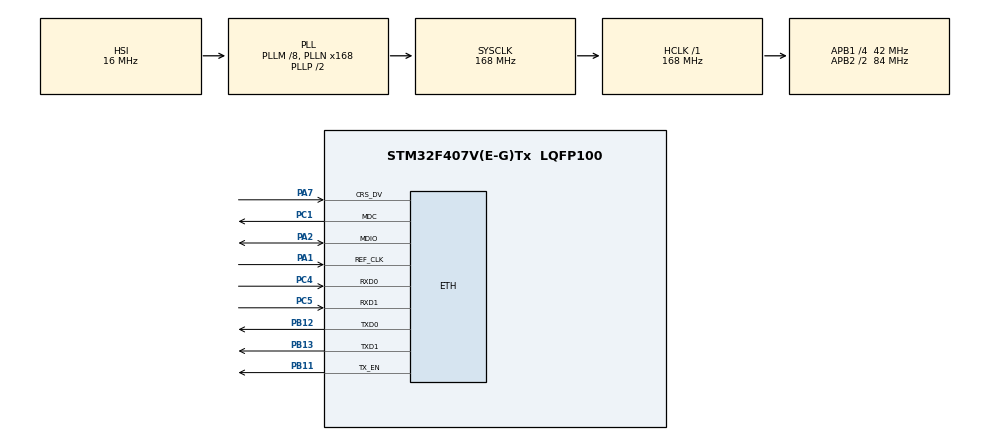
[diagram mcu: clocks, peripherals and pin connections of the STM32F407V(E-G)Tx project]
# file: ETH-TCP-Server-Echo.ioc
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ETH.AutoNegotiation=ETH_AUTONEGOTIATION_DISABLE
ETH.MediaInterface=ETH_MEDIA_INTERFACE_RMII
LWIP.GATEWAY_ADDRESS=192.168.100.001
LWIP.IP_ADDRESS=192.168.100.200
LWIP.LWIP_DHCP=0
LWIP.MEM_SIZE=10240
LWIP.NETMASK_ADDRESS=255.255.255.000
LWIP.PBUF_POOL_BUFSIZE=1534
LWIP.TCP_MSS=1460
LWIP.Version=v2.1.2_Cube
Mcu.Family=STM32F4
Mcu.Name=STM32F407V(E-G)Tx
Mcu.Package=LQFP100
NVIC.PriorityGroup=NVIC_PRIORITYGROUP_4
PA1.Mode=RMII
PA1.Signal=ETH_REF_CLK
PA2.Mode=RMII
PA2.Signal=ETH_MDIO
PA7.Mode=RMII
PA7.Signal=ETH_CRS_DV
PB11.Mode=RMII
PB11.Signal=ETH_TX_EN
PB12.Mode=RMII
PB12.Signal=ETH_TXD0
PB13.Mode=RMII
PB13.Signal=ETH_TXD1
PC1.Mode=RMII
PC1.Signal=ETH_MDC
PC4.Mode=RMII
PC4.Signal=ETH_RXD0
PC5.Mode=RMII
PC5.Signal=ETH_RXD1
ProjectManager.HeapSize=0x200
ProjectManager.StackSize=0x400
ProjectManager.TargetToolchain=MDK-ARM V5.27
RCC.48MHZClocksFreq_Value=84000000
RCC.AHBFreq_Value=168000000
RCC.APB1CLKDivider=RCC_HCLK_DIV4
RCC.APB1Freq_Value=42000000
RCC.APB1TimFreq_Value=84000000
RCC.APB2CLKDivider=RCC_HCLK_DIV2
RCC.APB2Freq_Value=84000000
RCC.APB2TimFreq_Value=168000000
RCC.CortexFreq_Value=168000000
RCC.HCLKFreq_Value=168000000
RCC.HSE_VALUE=25000000
RCC.HSI_VALUE=16000000
RCC.LSE_VALUE=32768
RCC.PLLM=8
RCC.PLLN=168
RCC.SYSCLKFreq_VALUE=168000000
RCC.SYSCLKSource=RCC_SYSCLKSOURCE_PLLCLK
RCC.VCOOutputFreq_Value=336000000
VP_LWIP_VS_Enabled.Mode=Enabled
board=custom

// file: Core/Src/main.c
/* USER CODE BEGIN Header */
/**
  ******************************************************************************
  * @file           : main.c
  * @brief          : Main program body
  ******************************************************************************
  * @attention
  *
  * <h2><center>&copy; Copyright (c) 2024 STMicroelectronics.
  * All rights reserved.</center></h2>
  *
  * This software component is licensed by ST under Ultimate Liberty license
  * SLA0044, the "License"; You may not use this file except in compliance with
  * the License. You may obtain a copy of the License at:
  *                             www.st.com/SLA0044
  *
  ******************************************************************************
  */
/* USER CODE END Header */
#include "main.h"
#include "lwip.h"
#include "gpio.h"

/* USER CODE BEGIN Includes */
#include "lwip/tcp.h"
#include "lwip/ip_addr.h"
#include "lwip/ip.h"

#include <stdio.h>
/* USER CODE END Includes */

/* USER CODE BEGIN PV */
static const uint16_t SERVER_PORT = 8585;

static struct tcp_pcb* server;

/* USER CODE END PV */

void SystemClock_Config(void);

/* USER CODE BEGIN 0 */
void Server_init(void);

err_t Server_onAccept(void *arg, struct tcp_pcb *newpcb, err_t err);
err_t Server_onReceive(void *arg, struct tcp_pcb *tpcb, struct pbuf *p, err_t err);
err_t Server_onSent(void *arg, struct tcp_pcb *tpcb,u16_t len);
err_t Server_onPoll(void *arg, struct tcp_pcb *tpcb);
void  Server_onError(void *arg, err_t err);
/* USER CODE END 0 */

int main(void)
{

  /* MCU Configuration--------------------------------------------------------*/

  /* Reset of all peripherals, Initializes the Flash interface and the Systick. */
  HAL_Init();

  /* Configure the system clock */
  SystemClock_Config();

  /* Initialize all configured peripherals */
  MX_GPIO_Init();
  MX_LWIP_Init();

  /* Infinite loop */
  /* USER CODE BEGIN WHILE */
  Server_init();
  while (1)
  {
    MX_LWIP_Process();
    /* USER CODE END WHILE */

  }
}

void SystemClock_Config(void)
{
  RCC_OscInitTypeDef RCC_OscInitStruct = {0};
  RCC_ClkInitTypeDef RCC_ClkInitStruct = {0};

  /** Configure the main internal regulator output voltage
  */
  __HAL_RCC_PWR_CLK_ENABLE();
  __HAL_PWR_VOLTAGESCALING_CONFIG(PWR_REGULATOR_VOLTAGE_SCALE1);
  /** Initializes the RCC Oscillators according to the specified parameters
  * in the RCC_OscInitTypeDef structure.
  */
  RCC_OscInitStruct.OscillatorType = RCC_OSCILLATORTYPE_HSI;
  RCC_OscInitStruct.HSIState = RCC_HSI_ON;
  RCC_OscInitStruct.HSICalibrationValue = RCC_HSICALIBRATION_DEFAULT;
  RCC_OscInitStruct.PLL.PLLState = RCC_PLL_ON;
  RCC_OscInitStruct.PLL.PLLSource = RCC_PLLSOURCE_HSI;
  RCC_OscInitStruct.PLL.PLLM = 8;
  RCC_OscInitStruct.PLL.PLLN = 168;
  RCC_OscInitStruct.PLL.PLLP = RCC_PLLP_DIV2;
  RCC_OscInitStruct.PLL.PLLQ = 4;
  if (HAL_RCC_OscConfig(&RCC_OscInitStruct) != HAL_OK)
  {
    Error_Handler();
  }
  /** Initializes the CPU, AHB and APB buses clocks
  */
  RCC_ClkInitStruct.ClockType = RCC_CLOCKTYPE_HCLK|RCC_CLOCKTYPE_SYSCLK
                              |RCC_CLOCKTYPE_PCLK1|RCC_CLOCKTYPE_PCLK2;
  RCC_ClkInitStruct.SYSCLKSource = RCC_SYSCLKSOURCE_PLLCLK;
  RCC_ClkInitStruct.AHBCLKDivider = RCC_SYSCLK_DIV1;
  RCC_ClkInitStruct.APB1CLKDivider = RCC_HCLK_DIV4;
  RCC_ClkInitStruct.APB2CLKDivider = RCC_HCLK_DIV2;

  if (HAL_RCC_ClockConfig(&RCC_ClkInitStruct, FLASH_LATENCY_5) != HAL_OK)
  {
    Error_Handler();
  }
}

/* USER CODE BEGIN 4 */
void Server_init(void) {
  server = tcp_new();

  if (server) {
    err_t err = tcp_bind(server, IP_ADDR_ANY, SERVER_PORT);

    if (err == ERR_OK) {
      server = tcp_listen(server);

      tcp_accept(server, Server_onAccept);
    }
    else {
      memp_free(MEMP_TCP_PCB, server);
    }
  }
}

err_t Server_onAccept(void *arg, struct tcp_pcb *newpcb, err_t err) {
  if (newpcb && err == ERR_OK) {
    // New Connection Accepted
    tcp_recv(newpcb, Server_onReceive);
    tcp_sent(newpcb, Server_onSent);
    tcp_poll(newpcb, Server_onPoll, 10); // Nx 500ms
    tcp_err(newpcb,  Server_onError);
  }

  return ERR_OK;
}
err_t Server_onReceive(void *arg, struct tcp_pcb *tpcb, struct pbuf *p, err_t err) {

  if (tpcb && err == ERR_OK) {
    if (p) {
      // Data Received
      tcp_write(tpcb, p->payload, p->len, TCP_WRITE_FLAG_COPY);
      tcp_output(tpcb);
      pbuf_free(p);
    }
    else {
      // Connection Closed

    }
  }

  return ERR_OK;
}
err_t Server_onSent(void *arg, struct tcp_pcb *tpcb,u16_t len) {

  return ERR_OK;
}
err_t Server_onPoll(void *arg, struct tcp_pcb *tpcb) {
  char buf[64];

  uint32_t len = snprintf(buf, sizeof(buf) - 1, "Timestamp: %u\r\n", HAL_GetTick());

  tcp_write(tpcb, buf, len, TCP_WRITE_FLAG_COPY);

  return ERR_OK;
}
void  Server_onError(void *arg, err_t err) {

}
/* USER CODE END 4 */

void Error_Handler(void)
{
  __disable_irq();
  while (1)
  {
  }
}

/************************ (C) COPYRIGHT STMicroelectronics *****END OF FILE****/
